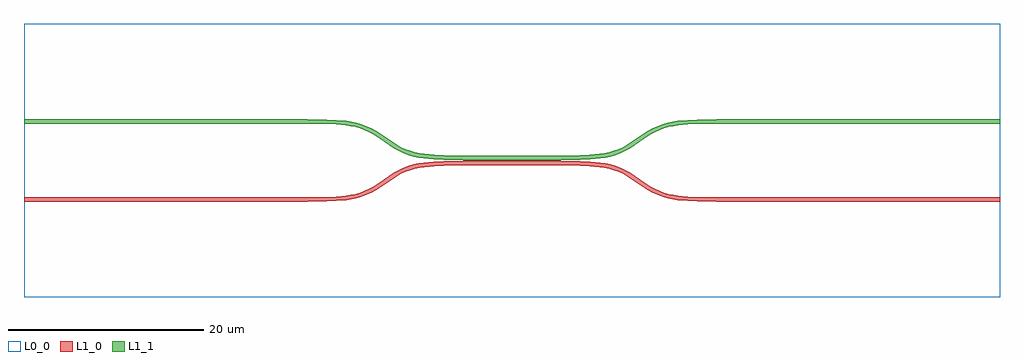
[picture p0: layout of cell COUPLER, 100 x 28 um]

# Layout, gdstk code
import gdstk
lib = gdstk.Library(unit=1e-6, precision=1e-09)
def R(c, l, rs):  # rectangles x0, y0, x1, y1
    for r in rs: c.add(gdstk.rectangle(r[:2], r[2:], *l))
L0_0 = (0, 0)
L1_0 = (1, 0)
L1_1 = (1, 1)

coupler = lib.new_cell('COUPLER')
R(coupler, L0_0, [(-50,-14,50,14)])
coupler.add(gdstk.FlexPath([(-50,-4),(-42.75,-4),(-35.5,-4),(-28.25,-4),(-21,-4),(-19,-3.968),(-18,-3.923),(-17,-3.832),(-16.5,-3.756),(-16,-3.652),(-15.5,-3.512),(-15,-3.326),(-14.5,-3.092),(-14,-2.808),(-13,-2.138),(-12,-1.467),(-11.5,-1.183),(-11,-0.949),(-10.5,-0.763),(-10,-0.623),(-9.5,-0.519),(-9,-0.443),(-8,-0.352),(-7,-0.307),(-5,-0.275),(-2.5,-0.275),(0,-0.275),(2.5,-0.275),(5,-0.275),(7,-0.307),(8,-0.352),(9,-0.443),(9.5,-0.519),(10,-0.623),(10.5,-0.763),(11,-0.949),(11.5,-1.183),(12,-1.467),(13,-2.138),(14,-2.808),(14.5,-3.092),(15,-3.326),(15.5,-3.512),(16,-3.652),(16.5,-3.756),(17,-3.832),(18,-3.923),(19,-3.968),(21,-4),(28.25,-4),(35.5,-4),(42.75,-4),(50,-4)], 0.45, ends="flush", simple_path=True, layer=1, datatype=0))  # L1_0
coupler.add(gdstk.FlexPath([(-50,4),(-42.75,4),(-35.5,4),(-28.25,4),(-21,4),(-19,3.968),(-18,3.923),(-17,3.832),(-16.5,3.756),(-16,3.652),(-15.5,3.512),(-15,3.326),(-14.5,3.092),(-14,2.808),(-13,2.138),(-12,1.467),(-11.5,1.183),(-11,0.949),(-10.5,0.763),(-10,0.623),(-9.5,0.519),(-9,0.443),(-8,0.352),(-7,0.307),(-5,0.275),(-2.5,0.275),(0,0.275),(2.5,0.275),(5,0.275),(7,0.307),(8,0.352),(9,0.443),(9.5,0.519),(10,0.623),(10.5,0.763),(11,0.949),(11.5,1.183),(12,1.467),(13,2.138),(14,2.808),(14.5,3.092),(15,3.326),(15.5,3.512),(16,3.652),(16.5,3.756),(17,3.832),(18,3.923),(19,3.968),(21,4),(28.25,4),(35.5,4),(42.75,4),(50,4)], 0.45, ends="flush", simple_path=True, layer=1, datatype=1))  # L1_1

lib.write_gds('COUPLER.gds')
